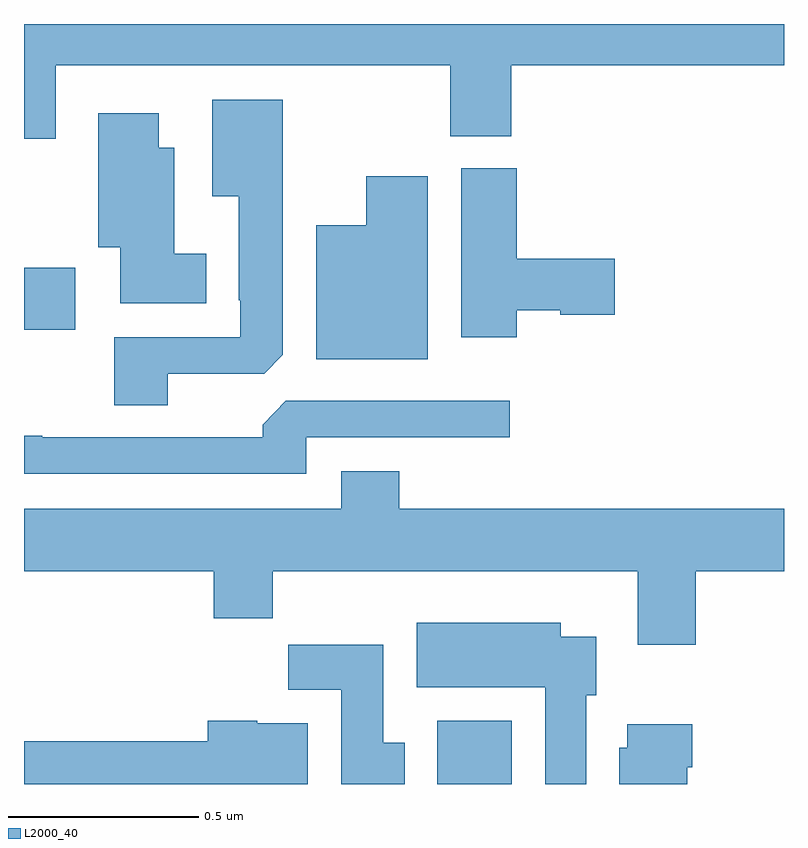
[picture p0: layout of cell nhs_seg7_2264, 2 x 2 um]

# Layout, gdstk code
import gdstk
lib = gdstk.Library(unit=1e-6, precision=1e-09)
def R(c, l, rs):  # rectangles x0, y0, x1, y1
    for r in rs: c.add(gdstk.rectangle(r[:2], r[2:], *l))
def P(c, l, *ps):  # polygons
    for p in ps: c.add(gdstk.Polygon(p, *l))
L2000_40 = (2000, 40)

nhs_seg7_2264 = lib.new_cell('nhs_seg7_2264')
R(nhs_seg7_2264, L2000_40, [(143.087,1056,143.283,1056.166), (142,1057.196,142.135,1057.359)])
P(nhs_seg7_2264, L2000_40, [(142.084,1057.892),(143.122,1057.892),(143.122,1057.705),(143.282,1057.705),(143.282,1057.892),(144,1057.892),(144,1058),(142,1058),(142,1057.698),(142.084,1057.698)],
  [(142.378,1057.08),(142.632,1057.08),(142.681,1057.129),(142.681,1057.801),(142.496,1057.801),(142.496,1057.547),(142.565,1057.547),(142.565,1057.273),(142.569,1057.273),(142.569,1057.176),(142.238,1057.176),(142.238,1056.997),(142.378,1056.997)],
  [(142.48,1057.396),(142.396,1057.396),(142.396,1057.675),(142.354,1057.675),(142.354,1057.765),(142.196,1057.765),(142.196,1057.412),(142.253,1057.412),(142.253,1057.265),(142.48,1057.265)],
  [(143.297,1057.247),(143.411,1057.247),(143.411,1057.235),(143.554,1057.235),(143.554,1057.382),(143.297,1057.382),(143.297,1057.62),(143.15,1057.62),(143.15,1057.176),(143.297,1057.176)],
  [(143.062,1057.6),(142.901,1057.6),(142.901,1057.471),(142.769,1057.471),(142.769,1057.118),(143.062,1057.118)],
  [(142.743,1056.912),(143.278,1056.912),(143.278,1057.008),(142.689,1057.008),(142.628,1056.946),(142.628,1056.912),(142.048,1056.912),(142.048,1056.917),(142,1056.917),(142,1056.816),(142.743,1056.816)],
  [(142.835,1056.823),(142.835,1056.724),(142,1056.724),(142,1056.56),(142.499,1056.56),(142.499,1056.436),(142.655,1056.436),(142.655,1056.56),(143.615,1056.56),(143.615,1056.366),(143.768,1056.366),(143.768,1056.56),(144,1056.56),(144,1056.724),(142.988,1056.724),(142.988,1056.823)],
  [(143.479,1056.234),(143.506,1056.234),(143.506,1056.388),(143.413,1056.388),(143.413,1056.424),(143.033,1056.424),(143.033,1056.254),(143.372,1056.254),(143.372,1056),(143.479,1056)],
  [(143.002,1056.108),(142.945,1056.108),(142.945,1056.366),(142.696,1056.366),(142.696,1056.248),(142.835,1056.248),(142.835,1056),(143.002,1056)],
  [(142.747,1056.16),(142.614,1056.16),(142.614,1056.166),(142.484,1056.166),(142.484,1056.112),(142,1056.112),(142,1056),(142.747,1056)],
  [(143.746,1056.044),(143.759,1056.044),(143.759,1056.157),(143.588,1056.157),(143.588,1056.096),(143.567,1056.096),(143.567,1056),(143.746,1056)])

lib.write_gds('nhs_seg7_2264.gds')
